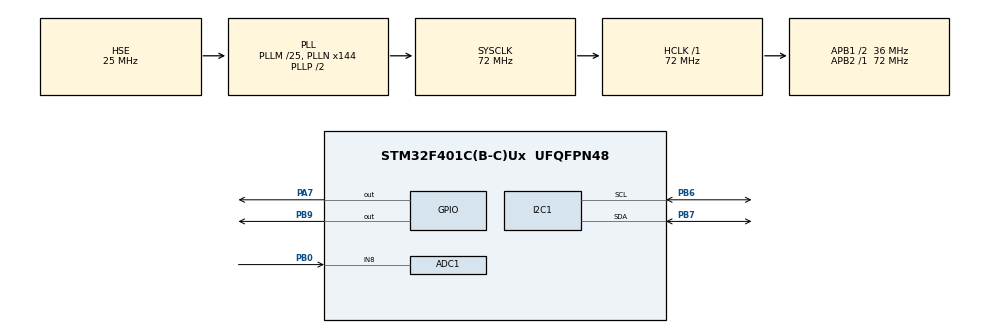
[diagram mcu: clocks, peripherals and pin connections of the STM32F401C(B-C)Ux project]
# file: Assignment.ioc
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ADC1.Channel-7\#ChannelRegularConversion=ADC_CHANNEL_8
ADC1.NbrOfConversionFlag=1
ADC1.Rank-7\#ChannelRegularConversion=1
ADC1.SamplingTime-7\#ChannelRegularConversion=ADC_SAMPLETIME_15CYCLES
ADC1.master=1
I2C1.I2C_Mode=I2C_Standard
Mcu.Family=STM32F4
Mcu.Name=STM32F401C(B-C)Ux
Mcu.Package=UFQFPN48
NVIC.PriorityGroup=NVIC_PRIORITYGROUP_4
PA13.Mode=Serial_Wire
PA13.Signal=SYS_JTMS-SWDIO
PA14.Mode=Serial_Wire
PA14.Signal=SYS_JTCK-SWCLK
PA7.Signal=GPIO_Output
PB0.Signal=ADCx_IN8
PB6.Mode=I2C
PB6.Signal=I2C1_SCL
PB7.Mode=I2C
PB7.Signal=I2C1_SDA
PB9.Signal=GPIO_Output
PH0\ -\ OSC_IN.Mode=HSE-External-Oscillator
PH0\ -\ OSC_IN.Signal=RCC_OSC_IN
PH1\ -\ OSC_OUT.Mode=HSE-External-Oscillator
PH1\ -\ OSC_OUT.Signal=RCC_OSC_OUT
ProjectManager.HeapSize=0x200
ProjectManager.StackSize=0x400
ProjectManager.TargetToolchain=STM32CubeIDE
RCC.48MHZClocksFreq_Value=36000000
RCC.AHBFreq_Value=72000000
RCC.APB1CLKDivider=RCC_HCLK_DIV2
RCC.APB1Freq_Value=36000000
RCC.APB1TimFreq_Value=72000000
RCC.APB2Freq_Value=72000000
RCC.APB2TimFreq_Value=72000000
RCC.CortexFreq_Value=72000000
RCC.HCLKFreq_Value=72000000
RCC.HSE_VALUE=25000000
RCC.HSI_VALUE=16000000
RCC.LSE_VALUE=32768
RCC.PLLM=25
RCC.PLLN=144
RCC.PLLSourceVirtual=RCC_PLLSOURCE_HSE
RCC.SYSCLKFreq_VALUE=72000000
RCC.SYSCLKSource=RCC_SYSCLKSOURCE_PLLCLK
RCC.VCOOutputFreq_Value=144000000
SH.ADCx_IN8.0=ADC1_IN8,IN8
TIM1.Prescaler=71
VP_TIM1_VS_ClockSourceINT.Mode=Internal
board=custom

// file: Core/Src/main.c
/* USER CODE BEGIN Header */
/**
  ******************************************************************************
  * @file           : main.c
  * @brief          : Main program body
  ******************************************************************************
  * @attention
  *
  * Copyright (c) 2025 STMicroelectronics.
  * All rights reserved.
  *
  * This software is licensed under terms that can be found in the LICENSE file
  * in the root directory of this software component.
  * If no LICENSE file comes with this software, it is provided AS-IS.
  *
  ******************************************************************************
  */
/* USER CODE END Header */
#include "main.h"

/* USER CODE BEGIN Includes */

#include "liquidcrystal_i2c.h"
#include "stdio.h"

/* USER CODE END Includes */

ADC_HandleTypeDef hadc1;

I2C_HandleTypeDef hi2c1;

TIM_HandleTypeDef htim1;

void SystemClock_Config(void);
static void MX_GPIO_Init(void);
static void MX_I2C1_Init(void);
static void MX_TIM1_Init(void);
static void MX_ADC1_Init(void);

/* USER CODE BEGIN 0 */

//start up for Temperature Sensor (DHT11)
#define DHT11_PORT GPIOB
#define DHT11_PIN GPIO_PIN_9
uint8_t RHI, RHD, TCI, TCD, SUM;
uint32_t pMillis, cMillis;
float tCelsius = 0;
float tFahrenheit = 0;
float RH = 0;
uint8_t TFI = 0;
uint8_t TFD = 0;
char strCopy[15];

void microDelay (uint16_t delay)
{
  __HAL_TIM_SET_COUNTER(&htim1, 0);
  while (__HAL_TIM_GET_COUNTER(&htim1) < delay);
}

uint8_t DHT11_Start (void)
{
  uint8_t Response = 0;
  GPIO_InitTypeDef GPIO_InitStructPrivate = {0};
  GPIO_InitStructPrivate.Pin = DHT11_PIN;
  GPIO_InitStructPrivate.Mode = GPIO_MODE_OUTPUT_PP;
  GPIO_InitStructPrivate.Speed = GPIO_SPEED_FREQ_LOW;
  GPIO_InitStructPrivate.Pull = GPIO_NOPULL;
  HAL_GPIO_Init(DHT11_PORT, &GPIO_InitStructPrivate); // set the pin as output
  HAL_GPIO_WritePin (DHT11_PORT, DHT11_PIN, 0);   // pull the pin low
  HAL_Delay(20);   // wait for 20ms
  HAL_GPIO_WritePin (DHT11_PORT, DHT11_PIN, 1);   // pull the pin high
  microDelay (30);   // wait for 30us
  GPIO_InitStructPrivate.Mode = GPIO_MODE_INPUT;
  GPIO_InitStructPrivate.Pull = GPIO_PULLUP;
  HAL_GPIO_Init(DHT11_PORT, &GPIO_InitStructPrivate); // set the pin as input
  microDelay (40);
  if (!(HAL_GPIO_ReadPin (DHT11_PORT, DHT11_PIN)))
  {
    microDelay (80);
    if ((HAL_GPIO_ReadPin (DHT11_PORT, DHT11_PIN))) Response = 1;
  }
  pMillis = HAL_GetTick();
  cMillis = HAL_GetTick();
  while ((HAL_GPIO_ReadPin (DHT11_PORT, DHT11_PIN)) && pMillis + 2 > cMillis)
  {
    cMillis = HAL_GetTick();
  }
  return Response;
}

uint8_t DHT11_Read (void)
{
  uint8_t a,b;
  for (a=0;a<8;a++)
  {
    pMillis = HAL_GetTick();
    cMillis = HAL_GetTick();
    while (!(HAL_GPIO_ReadPin (DHT11_PORT, DHT11_PIN)) && pMillis + 2 > cMillis)
    {  // wait for the pin to go high
      cMillis = HAL_GetTick();
    }
    microDelay (40);   // wait for 40 us
    if (!(HAL_GPIO_ReadPin (DHT11_PORT, DHT11_PIN)))   // if the pin is low
      b&= ~(1<<(7-a));
    else
      b|= (1<<(7-a));
    pMillis = HAL_GetTick();
    cMillis = HAL_GetTick();
    while ((HAL_GPIO_ReadPin (DHT11_PORT, DHT11_PIN)) && pMillis + 2 > cMillis)
    {  // wait for the pin to go low
      cMillis = HAL_GetTick();
    }
  }
  return b;
}

/* USER CODE END 0 */

int main(void)
{

  /* MCU Configuration--------------------------------------------------------*/

  /* Reset of all peripherals, Initializes the Flash interface and the Systick. */
  HAL_Init();

  /* Configure the system clock */
  SystemClock_Config();

  /* Initialize all configured peripherals */
  MX_GPIO_Init();
  MX_I2C1_Init();
  MX_TIM1_Init();
  MX_ADC1_Init();
  /* USER CODE BEGIN 2 */

  //start up for ICD I2C
  HAL_TIM_Base_Start(&htim1);
  HD44780_Init(2);
  HD44780_Clear();
  HD44780_Display();

  //start up for Photoresistor(LDR)
  uint16_t luxvalue;

  /* USER CODE END 2 */

  /* Infinite loop */
  while (1)
  {
	  HAL_ADC_Start(&hadc1);
	  HAL_ADC_PollForConversion(&hadc1,200);
	  luxvalue = HAL_ADC_GetValue(&hadc1);

	  //Read values from DHT11
	  if(DHT11_Start())
	  {
		  RHI = DHT11_Read(); // Relative humidity integral
	  	  RHD = DHT11_Read(); // Relative humidity decimal
	  	  TCI = DHT11_Read(); // Celsius integral
	  	  TCD = DHT11_Read(); // Celsius decimal
	  	  SUM = DHT11_Read(); // Check sum
	  	  if (RHI + RHD + TCI + TCD == SUM)
	  	  {
	  		  tCelsius = (float)TCI + (float)(TCD/10.0); //transform the data
	  		  sprintf(strCopy,"TEMP: %d.%d C", TCI, TCD); //print the temperature value
	  		  HD44780_SetCursor(0,0); //print the temperature at first row
	  		  HD44780_PrintStr(strCopy);
	  	  }
	  }
	  //if temperature and intensity exceed the threshold value
	  if (tCelsius > 35.0 & luxvalue > 300 )
	  {
		  HAL_GPIO_WritePin(GPIOA, GPIO_PIN_7,GPIO_PIN_SET); //turn on buzzer
		  HD44780_SetCursor(0,1); //print the message at second row
	  	  HD44780_PrintStr("          ");//clear the second row
	  	  HD44780_SetCursor(0,1);//print the message at second row
	  	  HD44780_PrintStr("ABNORMAL!!");//print message "abnormal" on the LCD
	  }
	  else
	  {
	  	  HAL_GPIO_WritePin(GPIOA, GPIO_PIN_7, GPIO_PIN_RESET); //turn of buzzer
	  	  HD44780_SetCursor(0,1);//print the message at second row
	  	  HD44780_PrintStr("          ");//clear the second row
	  	  HD44780_SetCursor(0,1);//print the message at second row
	  	  HD44780_PrintStr("Normal...");//print message "normal" on the LCD
	  }
	  HAL_Delay(20);

  }
}

void SystemClock_Config(void)
{
  RCC_OscInitTypeDef RCC_OscInitStruct = {0};
  RCC_ClkInitTypeDef RCC_ClkInitStruct = {0};

  /** Configure the main internal regulator output voltage
  */
  __HAL_RCC_PWR_CLK_ENABLE();
  __HAL_PWR_VOLTAGESCALING_CONFIG(PWR_REGULATOR_VOLTAGE_SCALE2);

  /** Initializes the RCC Oscillators according to the specified parameters
  * in the RCC_OscInitTypeDef structure.
  */
  RCC_OscInitStruct.OscillatorType = RCC_OSCILLATORTYPE_HSE;
  RCC_OscInitStruct.HSEState = RCC_HSE_ON;
  RCC_OscInitStruct.PLL.PLLState = RCC_PLL_ON;
  RCC_OscInitStruct.PLL.PLLSource = RCC_PLLSOURCE_HSE;
  RCC_OscInitStruct.PLL.PLLM = 25;
  RCC_OscInitStruct.PLL.PLLN = 144;
  RCC_OscInitStruct.PLL.PLLP = RCC_PLLP_DIV2;
  RCC_OscInitStruct.PLL.PLLQ = 4;
  if (HAL_RCC_OscConfig(&RCC_OscInitStruct) != HAL_OK)
  {
    Error_Handler();
  }

  /** Initializes the CPU, AHB and APB buses clocks
  */
  RCC_ClkInitStruct.ClockType = RCC_CLOCKTYPE_HCLK|RCC_CLOCKTYPE_SYSCLK
                              |RCC_CLOCKTYPE_PCLK1|RCC_CLOCKTYPE_PCLK2;
  RCC_ClkInitStruct.SYSCLKSource = RCC_SYSCLKSOURCE_PLLCLK;
  RCC_ClkInitStruct.AHBCLKDivider = RCC_SYSCLK_DIV1;
  RCC_ClkInitStruct.APB1CLKDivider = RCC_HCLK_DIV2;
  RCC_ClkInitStruct.APB2CLKDivider = RCC_HCLK_DIV1;

  if (HAL_RCC_ClockConfig(&RCC_ClkInitStruct, FLASH_LATENCY_2) != HAL_OK)
  {
    Error_Handler();
  }
}

static void MX_ADC1_Init(void)
{

  ADC_ChannelConfTypeDef sConfig = {0};

  /** Configure the global features of the ADC (Clock, Resolution, Data Alignment and number of conversion)
  */
  hadc1.Instance = ADC1;
  hadc1.Init.ClockPrescaler = ADC_CLOCK_SYNC_PCLK_DIV2;
  hadc1.Init.Resolution = ADC_RESOLUTION_12B;
  hadc1.Init.ScanConvMode = DISABLE;
  hadc1.Init.ContinuousConvMode = DISABLE;
  hadc1.Init.DiscontinuousConvMode = DISABLE;
  hadc1.Init.ExternalTrigConvEdge = ADC_EXTERNALTRIGCONVEDGE_NONE;
  hadc1.Init.ExternalTrigConv = ADC_SOFTWARE_START;
  hadc1.Init.DataAlign = ADC_DATAALIGN_RIGHT;
  hadc1.Init.NbrOfConversion = 1;
  hadc1.Init.DMAContinuousRequests = DISABLE;
  hadc1.Init.EOCSelection = ADC_EOC_SINGLE_CONV;
  if (HAL_ADC_Init(&hadc1) != HAL_OK)
  {
    Error_Handler();
  }

  /** Configure for the selected ADC regular channel its corresponding rank in the sequencer and its sample time.
  */
  sConfig.Channel = ADC_CHANNEL_8;
  sConfig.Rank = 1;
  sConfig.SamplingTime = ADC_SAMPLETIME_15CYCLES;
  if (HAL_ADC_ConfigChannel(&hadc1, &sConfig) != HAL_OK)
  {
    Error_Handler();
  }

}

static void MX_I2C1_Init(void)
{

  hi2c1.Instance = I2C1;
  hi2c1.Init.ClockSpeed = 100000;
  hi2c1.Init.DutyCycle = I2C_DUTYCYCLE_2;
  hi2c1.Init.OwnAddress1 = 0;
  hi2c1.Init.AddressingMode = I2C_ADDRESSINGMODE_7BIT;
  hi2c1.Init.DualAddressMode = I2C_DUALADDRESS_DISABLE;
  hi2c1.Init.OwnAddress2 = 0;
  hi2c1.Init.GeneralCallMode = I2C_GENERALCALL_DISABLE;
  hi2c1.Init.NoStretchMode = I2C_NOSTRETCH_DISABLE;
  if (HAL_I2C_Init(&hi2c1) != HAL_OK)
  {
    Error_Handler();
  }

}

static void MX_TIM1_Init(void)
{

  TIM_ClockConfigTypeDef sClockSourceConfig = {0};
  TIM_MasterConfigTypeDef sMasterConfig = {0};

  htim1.Instance = TIM1;
  htim1.Init.Prescaler = 71;
  htim1.Init.CounterMode = TIM_COUNTERMODE_UP;
  htim1.Init.Period = 65535;
  htim1.Init.ClockDivision = TIM_CLOCKDIVISION_DIV1;
  htim1.Init.RepetitionCounter = 0;
  htim1.Init.AutoReloadPreload = TIM_AUTORELOAD_PRELOAD_DISABLE;
  if (HAL_TIM_Base_Init(&htim1) != HAL_OK)
  {
    Error_Handler();
  }
  sClockSourceConfig.ClockSource = TIM_CLOCKSOURCE_INTERNAL;
  if (HAL_TIM_ConfigClockSource(&htim1, &sClockSourceConfig) != HAL_OK)
  {
    Error_Handler();
  }
  sMasterConfig.MasterOutputTrigger = TIM_TRGO_RESET;
  sMasterConfig.MasterSlaveMode = TIM_MASTERSLAVEMODE_DISABLE;
  if (HAL_TIMEx_MasterConfigSynchronization(&htim1, &sMasterConfig) != HAL_OK)
  {
    Error_Handler();
  }

}

static void MX_GPIO_Init(void)
{
  GPIO_InitTypeDef GPIO_InitStruct = {0};

  /* GPIO Ports Clock Enable */
  __HAL_RCC_GPIOH_CLK_ENABLE();
  __HAL_RCC_GPIOA_CLK_ENABLE();
  __HAL_RCC_GPIOB_CLK_ENABLE();

  /*Configure GPIO pin Output Level */
  HAL_GPIO_WritePin(GPIOA, GPIO_PIN_7, GPIO_PIN_RESET);

  /*Configure GPIO pin Output Level */
  HAL_GPIO_WritePin(GPIOB, GPIO_PIN_9, GPIO_PIN_RESET);

  /*Configure GPIO pin : PA7 */
  GPIO_InitStruct.Pin = GPIO_PIN_7;
  GPIO_InitStruct.Mode = GPIO_MODE_OUTPUT_PP;
  GPIO_InitStruct.Pull = GPIO_NOPULL;
  GPIO_InitStruct.Speed = GPIO_SPEED_FREQ_LOW;
  HAL_GPIO_Init(GPIOA, &GPIO_InitStruct);

  /*Configure GPIO pin : PB9 */
  GPIO_InitStruct.Pin = GPIO_PIN_9;
  GPIO_InitStruct.Mode = GPIO_MODE_OUTPUT_PP;
  GPIO_InitStruct.Pull = GPIO_NOPULL;
  GPIO_InitStruct.Speed = GPIO_SPEED_FREQ_LOW;
  HAL_GPIO_Init(GPIOB, &GPIO_InitStruct);

}

void Error_Handler(void)
{
  __disable_irq();
  while (1)
  {
  }
}
